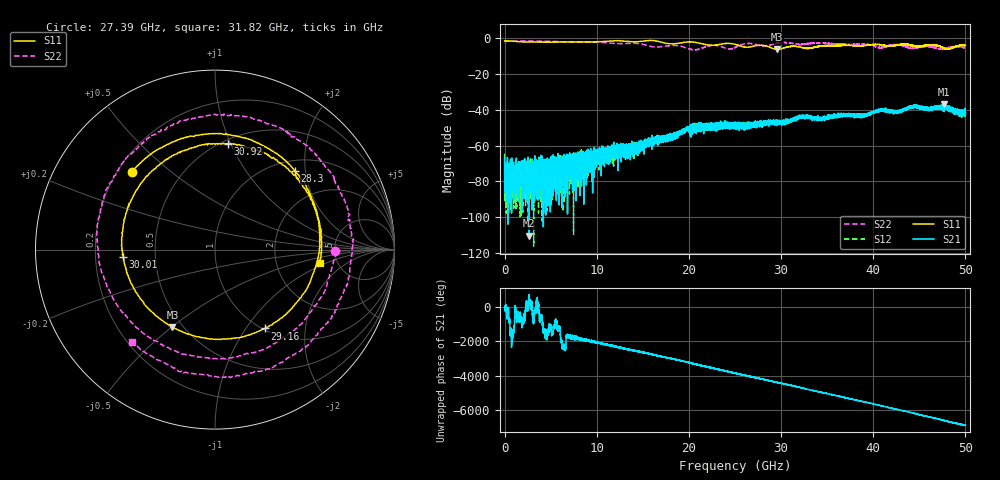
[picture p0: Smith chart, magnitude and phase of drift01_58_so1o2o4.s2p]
!Created with skrf (http://scikit-rf.org).
# Hz S RI R 50.0
!freq ReS11 ImS11 ReS21 ImS21 ReS12 ImS12 ReS22 ImS22
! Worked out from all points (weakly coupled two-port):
!   10001 points, 300 kHz to 50 GHz, reference 50 ohm
!   highest |S21| = -36.71 dB at 47.71 GHz (marker M1); lowest = -110.3 dB at 2.65 GHz (marker M2)
!   lowest |S11| = -6.2 dB at 29.6 GHz (marker M3), VSWR 2.94, Z = 22.1 - j25.1 ohm
!   |S11| at or under -10 dB: nowhere
!   |S22| runs from -6.4 to -1.4 dB; largest |S21 - S12| = 0.0039
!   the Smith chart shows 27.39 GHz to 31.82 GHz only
!   S11 on the Smith chart (normalised r, x): 27.39 GHz: 0.26, +0.37; 28.3 GHz: 1.21, +1.75; 29.16 GHz: 1.02, -1.23; 30.01 GHz: 0.32, -0.03; 30.92 GHz: 0.54, +0.98; 31.82 GHz: 3.66, -0.82
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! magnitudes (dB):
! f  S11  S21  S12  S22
! 300 kHz  -1.3  -66.7  -64.4  -2.1
! 260.3 MHz  -1.4  -74.8  -83.1  -1.4
! 2.65 GHz  -2.0  -110.3  -73.5  -1.4
! 6.285 GHz  -1.9  -67.7  -74.7  -1.9
! 8.335 GHz  -2.0  -70.5  -67.9  -1.8
! 16.67 GHz  -1.6  -55.7  -55.2  -4.8
! 18.62 GHz  -2.9  -53.2  -53.2  -3.9
! 20.4 GHz  -2.0  -50.7  -50.4  -6.2
! 22.61 GHz  -3.8  -48.9  -48.9  -3.8
! 25 GHz  -3.3  -49.8  -48.4  -5.0
! 27.39 GHz  -4.0  -47.6  -49.6  -3.5
! 28.3 GHz  -4.1  -47.3  -46.0  -4.4
! 29.16 GHz  -5.7  -45.4  -46.1  -3.0
! 29.6 GHz  -6.2  -48.3  -46.7  -2.6
! 30.01 GHz  -5.8  -46.2  -47.1  -2.3
! 30.92 GHz  -4.5  -46.2  -46.1  -2.5
! 31.82 GHz  -4.6  -44.7  -44.6  -3.2
! 33.34 GHz  -5.2  -44.5  -43.8  -2.6
! 41.67 GHz  -4.3  -40.3  -40.1  -4.1
! 46.43 GHz  -3.5  -39.2  -39.2  -4.8
! 47.71 GHz  -5.5  -36.7  -37.7  -5.7
! 50 GHz  -3.9  -42.5  -41.0  -5.3
